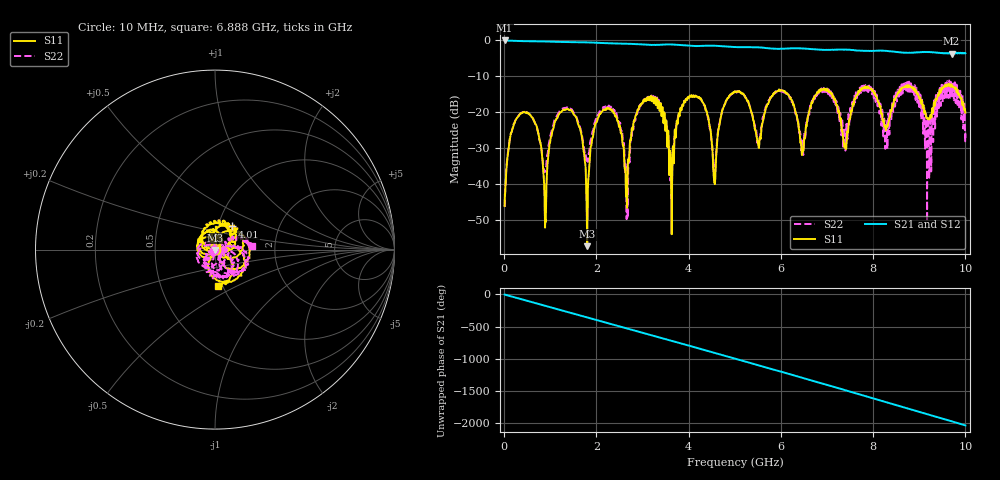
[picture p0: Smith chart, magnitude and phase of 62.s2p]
!Keysight Technologies,E5080B,MY59205177,A.15.75.32
!Date: Friday, February 23, 2024 03:31:38
!Correction: S11(Cdelta 2-Port  )
!S21(Cdelta 2-Port  )
!S12(Cdelta 2-Port  )
!S22(Cdelta 2-Port  )
!S2P File: Measurements: S11, S21, S12, S22:
# Hz S  dB  R 50
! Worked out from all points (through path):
!   10001 points, 10 MHz to 10 GHz, reference 50 ohm
!   highest |S21| = -0.01 dB at 10 MHz (marker M1); lowest = -3.7 dB at 9.701 GHz (marker M2)
!   group delay of S21, straight-line fit = 565 ps
!   lowest |S11| = -57.2 dB at 1.801 GHz (marker M3), VSWR 1.00, Z = 50 - j0.133 ohm
!   |S11| at or under -10 dB: start of sweep to end of sweep
!   |S22| runs from -50.3 to -11.2 dB; largest |S21 - S12| = 0.0016
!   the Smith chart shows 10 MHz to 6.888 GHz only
!   S11 on the Smith chart (normalised r, x): 10 MHz: 1.01, -0.00; 4.01 GHz: 1.17, +0.31; 6.888 GHz: 0.94, -0.41
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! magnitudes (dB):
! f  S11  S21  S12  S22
! 10 MHz  -46.0  0.0  0.0  -46.0
! 373.6 MHz  -20.2  -0.2  -0.2  -20.1
! 888.1 MHz  -51.4  -0.3  -0.3  -36.4
! 1.18 GHz  -20.7  -0.4  -0.4  -20.1
! 1.675 GHz  -26.0  -0.5  -0.5  -25.5
! 1.801 GHz  -57.2  -0.6  -0.6  -32.9
! 2.11 GHz  -19.9  -0.7  -0.7  -19.0
! 2.662 GHz  -46.2  -0.9  -0.9  -43.9
! 2.906 GHz  -19.3  -1.1  -1.1  -18.9
! 3.341 GHz  -17.5  -1.2  -1.2  -17.7
! 3.627 GHz  -46.7  -1.1  -1.1  -42.2
! 4.01 GHz  -15.9  -1.5  -1.5  -15.7
! 4.561 GHz  -39.5  -1.5  -1.5  -38.5
! 5.005 GHz  -14.2  -1.8  -1.8  -14.5
! 5.517 GHz  -29.7  -1.9  -1.9  -28.6
! 6.67 GHz  -17.3  -2.4  -2.4  -16.9
! 6.888 GHz  -13.7  -2.6  -2.6  -13.7
! 7.384 GHz  -29.7  -2.6  -2.6  -25.8
! 7.796 GHz  -13.1  -2.9  -2.9  -12.9
! 8.336 GHz  -22.7  -3.0  -3.0  -20.8
! 9.701 GHz  -12.2  -3.7  -3.7  -13.8
! 10 GHz  -20.1  -3.6  -3.6  -25.7
